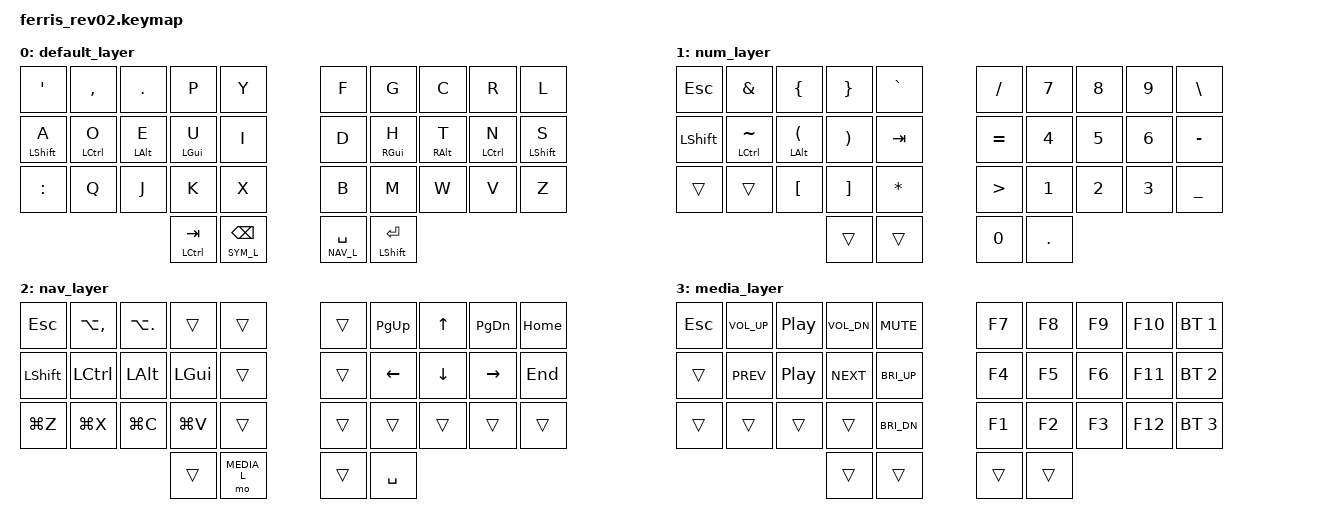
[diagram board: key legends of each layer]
/*
 * Copyright (c) 2020 The ZMK Contributors
 *
 * SPDX-License-Identifier: MIT
 */

/* This keyboard layout follows my original layout for the QMK version of Ferris Sweep */

#undef ZMK_BEHAVIORS_KEEP_ALL

#include <behaviors.dtsi>
#include <dt-bindings/zmk/keys.h>
#include <dt-bindings/zmk/bt.h>

#define SYM_L 1
#define NAV_L 2
#define MEDIA_L 3
#define QWERTY_L 4

// Using layer taps on thumbs, having quick tap as well helps w/ repeating space/backspace
&lt { quick-tap-ms = <200>; };

/ {
    behaviors {
        hm: homerow_mods {
            compatible = "zmk,behavior-hold-tap";
            #binding-cells = <2>;
            tapping-term-ms = <200>;
            flavor = "tap-preferred";
            bindings = <&kp>, <&kp>;
        };
    };

    keymap {
        compatible = "zmk,keymap";

        default_layer {
            bindings = <
                &kp SQT     &kp COMMA   &kp DOT    &kp P         &kp Y                   &kp F           &kp G         &kp C      &kp R       &kp L
                &hm LSHFT A &hm LCTRL O &hm LALT E &hm LGUI U    &kp I                   &kp D           &hm RGUI H    &hm RALT T &hm LCTRL N &hm LSHFT S
                &kp COLON   &kp Q       &kp J      &kp K         &kp X                   &kp B           &kp M         &kp W      &kp V       &kp Z
                                                   &mt LCTRL TAB &lt SYM_L BSPC          &lt NAV_L SPACE &mt LSHFT ENTER
            >;
        };

        num_layer {
            bindings = <
                &kp ESC       &kp AMPS         &kp LBRC       &kp RBRC   &kp GRAVE      &kp FSLH    &kp N7   &kp N8    &kp N9    &kp BSLH
                &kp LSHFT     &hm LCTRL TILDE  &hm LALT LPAR  &kp RPAR   &kp TAB        &kp EQUAL   &kp N4   &kp N5    &kp N6    &kp MINUS
                &trans        &trans           &kp LBKT       &kp RBKT   &kp STAR       &kp GT      &kp N1   &kp N2    &kp N3    &kp UNDER
                                                              &trans     &trans         &kp N0      &kp DOT
            >;
        };

	nav_layer {
            bindings = <
                &kp ESC    &kp LA(COMMA) &kp LA(DOT)    &trans     &trans                    &trans     &kp PG_UP      &kp UP      &kp PG_DN  &kp HOME
                &kp LSHFT  &kp LCTRL     &kp LALT       &kp LGUI   &trans                    &trans     &kp LEFT       &kp DOWN    &kp RIGHT  &kp END
                &kp LG(Z)  &kp LG(X)     &kp LG(C)      &kp LG(V)  &trans                    &trans     &trans         &trans      &trans     &trans
                                                        &trans     &mo MEDIA_L               &trans     &kp SPACE
            >;
        };

	media_layer {
            bindings = <
                &kp ESC    &kp C_VOL_UP &kp C_PP      &kp C_VOL_DN    &kp C_MUTE       &kp F7   &kp F8  &kp F9      &kp F10    &bt BT_SEL 1
                &trans     &kp C_PREV   &kp C_PP      &kp C_NEXT      &kp C_BRI_UP     &kp F4   &kp F5  &kp F6      &kp F11    &bt BT_SEL 2
                &trans     &trans       &trans        &trans          &kp C_BRI_DN     &kp F1   &kp F2  &kp F3      &kp F12    &bt BT_SEL 3
                                                      &trans          &trans           &trans           &trans
            >;
        };

    };
};
